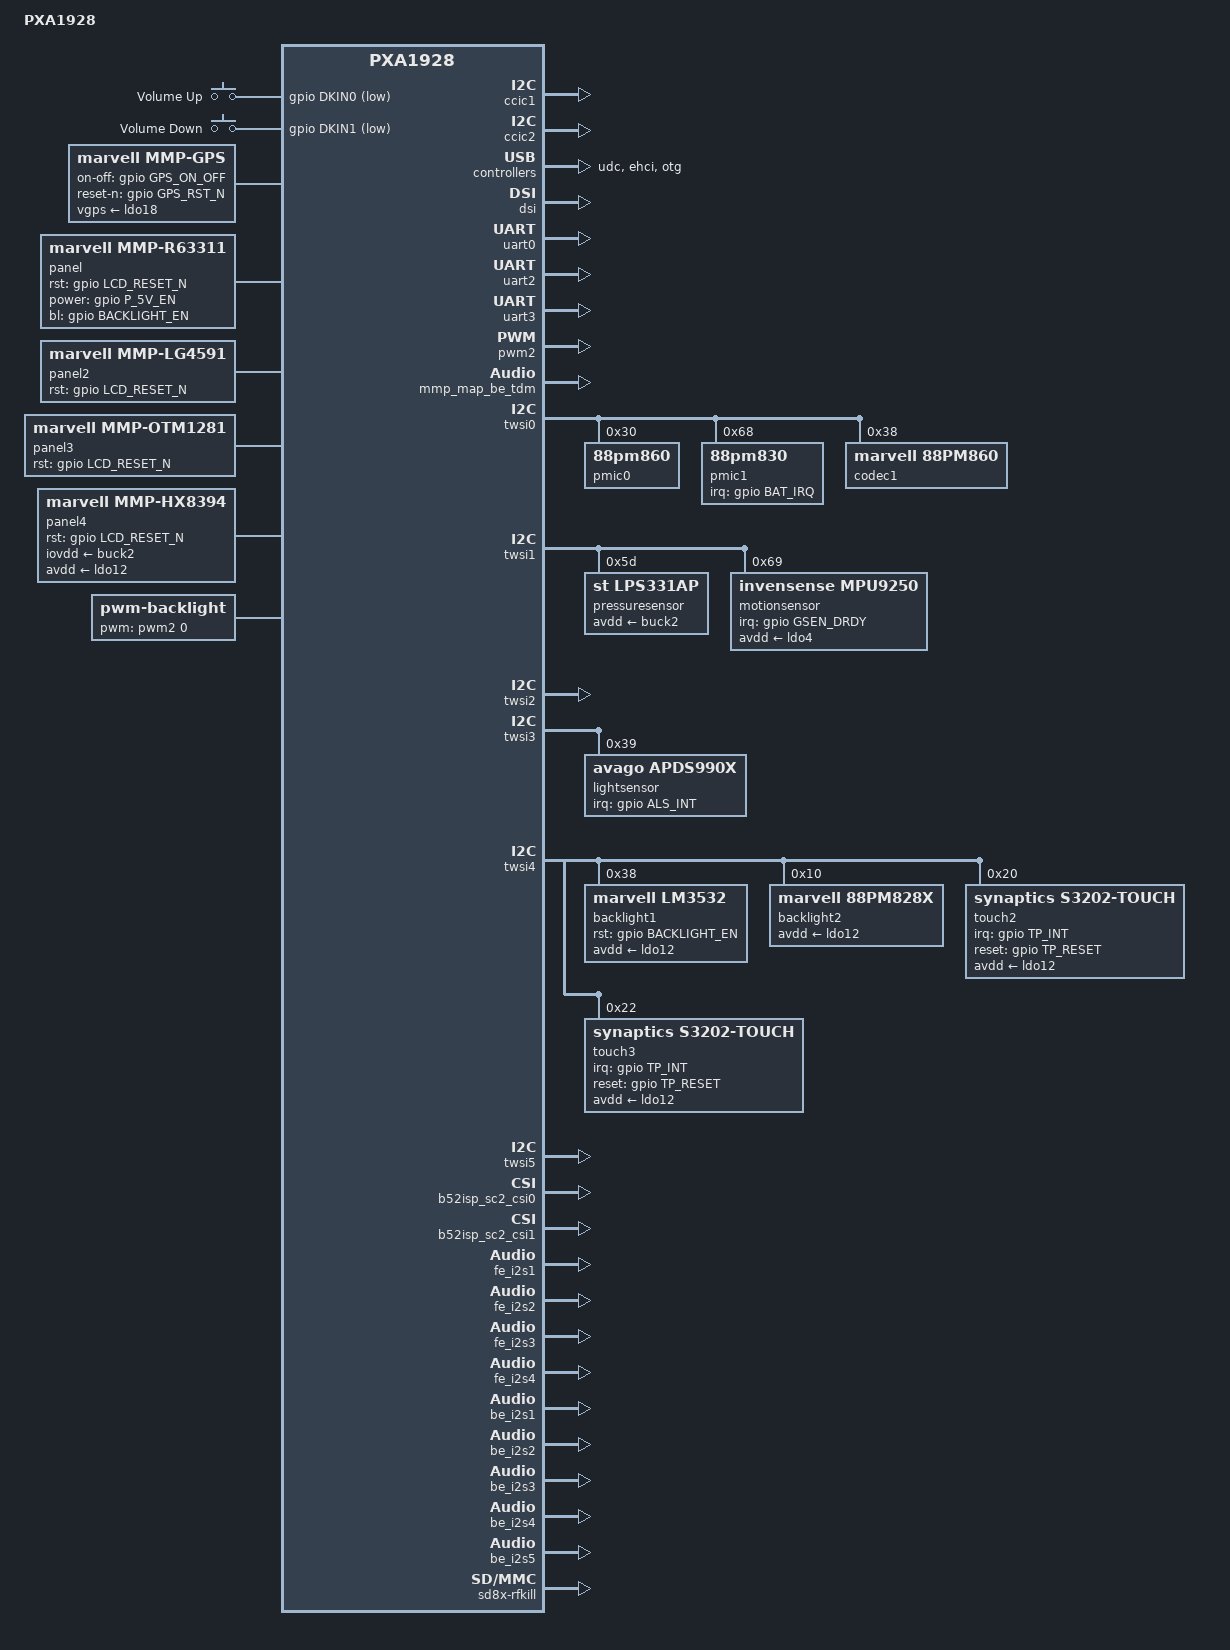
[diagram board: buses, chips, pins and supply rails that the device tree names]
/*
 *  Copyright (C) 2012 Marvell Technology Group Ltd.
 *  Author: Jing Xiang <jing.xiang@marvell.com>
 *
 *  This program is free software; you can redistribute it and/or modify
 *  it under the terms of the GNU General Public License version 2 as
 *  publishhed by the Free Software Foundation.
 */

/dts-v1/;
/memreserve/ 0x09000000 0x01000000;	/* GC reserved 16M */
/memreserve/ 0x08100000 0x00040000;	/* ramoops buffer (256KB) */
/memreserve/ 0x17000000 0x017f4c00;	/* default fb-mem (size: 256_align(1080*4)*1920*3+pitch_align(256_align(1080*4)*1920/512)*3(for dec header)) */
#include "pxa1928.dtsi"
#include "pxa1928concord-pinfunc.h"
#include "../../../../include/dt-bindings/interrupt-controller/irq.h"
#include "../../../../include/dt-bindings/mmc/pxa_sdhci.h"

/ {
	model = "PXA1928";
	compatible = "marvell,pxa1928-concord", "marvell,pxa1928";

	aliases {
		serial0 = &uart2;
		serial1 = &uart1;
		serial2 = &uart0;
		serial3 = &uart3;
		mv_sc2_mmu0 = &sc2mmu1;
		mv_sc2_ccic0 = &ccic1;
		mv_sc2_ccic1 = &ccic2;
		mv_sc2_camera0 = &mcam0;
		mv_sc2_camera1 = &mcam1;
		i2c0 = &twsi0;
		i2c1 = &twsi1;
		i2c2 = &twsi2;
		i2c3 = &twsi3;
		i2c4 = &twsi4;
		i2c5 = &twsi5;
	};

	gpio_keys {
		compatible = "gpio-keys";
		pinctrl-names = "default";
		pinctrl-0 = <&gpio_keys_pins>;
		#address-cells = <1>;
		#size-cells = <0>;

		volume-up {
			label = "Volume Up";
			linux,code = <115>; /* KEY_VOLUMEUP */
			gpios = <&gpio DKIN0 1>;
		};
		volume-down {
			label = "Volume Down";
			linux,code = <114>;/* KEY_VOLUMEDOWN */
			gpios = <&gpio DKIN1 1>;
		};
	};

	soc {
		pd_display: pd_display@0xd4282800 {
			compatible = "marvell,power-domain-display-pxa1928";
			reg = <0xd4282800 0x1000>;
			clocks = <&soc_clocks PXA1928_CLK_DISP_AXI_CLK>,
				<&soc_clocks PXA1928_CLK_DISP_ESC_CLK>,
				<&soc_clocks PXA1928_CLK_DISP_DISP1_EN>,
				<&soc_clocks PXA1928_CLK_DISP_VDMA_EN>;
			clock-names = "axi_clk", "esc_clk", "disp1_clk_gate", "vdma_clk_gate";
		};

		smmu {	/* iommu in vpu */
			status = "okay";
		};

		asram: sram@d1020000 {
			status = "okay";
		};

		axi@d4200000 {	/* AXI */
			wakeup: wakeupgen@d4284000 {
				compatible = "mrvl,pxa1928-intc-wakeupgen";
				reg = <0xd4284000 0x1000>,
					<0xd4282800 0x3ec>;
				mrvl,intc-gbl-mask = <0x114 0x1
							0x1d8 0x1
							0x208 0x1
							0x238 0x1>;
				mrvl,intc-for-sp = <>;
				mrvl,intc-wake-clr = <>;
			};

			sc2mmu1: sc2mmu@d4209000 {
				status = "okay";
			};

			ccic1: ccic@d420a000 {
				status = "okay";
				pinctrl-names = "default", "twsi3";
				pinctrl-0 = <&twsi3_isp_gpio_pins>;
				pinctrl-1 = <&twsi3_isp_pins>;
				sc2-i2c-dyn-ctrl;
			};

			ccic2: ccic@d420a800 {
				status = "okay";
				pinctrl-names = "default";
			};

			pd_gc: pd_gc@d4282800 {
				compatible = "marvell,power-domain-gc3d";
				reg = <0xd4282800 0x1000>;
				clocks = <&soc_clocks PXA1928_CLK_GC3D1X>;
			};

			pd_gc2d: pd_gc2d@d4282800 {
				compatible = "marvell,power-domain-gc2d";
				reg = <0xd4282800 0x1000>;
				clocks = <&soc_clocks PXA1928_CLK_GC2D>;
			};

			gpu: gpu@d420d000 {
				marvell,power-domain = <&pd_gc>;
				marvell,gpu-mem-base = <0x09000000>;
				marvell,gpu-mem-size = <0x1000000>;
				clocks = <&soc_clocks PXA1928_CLK_GC3D1X>,
					<&soc_clocks PXA1928_CLK_GC3DSH>,
					<&soc_clocks PXA1928_CLK_GC3DBUS>;
				clock-names = "GC3DFCLK", "GCSHCLK", "GC3DACLK";
				status = "okay";
			};

			gpu2d: gpu2d@d420f000 {
				marvell,power-domain = <&pd_gc2d>;
				clocks = <&soc_clocks PXA1928_CLK_GC2D>;
				clock-names = "GC2DFCLK";
				status = "okay";
			};

			adma0: adma@c0ffd800 {
				status = "okay";
			};
			adma1: adma@c0ffd900 {
				status = "okay";
			};

			usbphy: usbphy@d4207000 {
				status = "okay";
			};

			udc: udc@d4208100 {
				status = "okay";
			};

			ehci: ehci@d4208100 {
				status = "okay";
			};

			otg: otg@d4208100 {
				status = "okay";
			};

			dsi: dsi@d420b800 {
				marvell,phy-name = "mmp_dsi1";
				marvell,plat-path-name = "mmp_pnpath";
				marvell,dsi-lanes = <4>;
				marvell,burst-mode = <2>;
				marvell,hbp-en;
				dsi_avdd-supply = <&buck3>;
				status = "okay";
			};

			vdma: vdma@d427f000 {
				marvell,vdma-num = <4>;
				marvell,vdma-ch-clk-ctrl;
				status = "okay";
				vdma1 {
					marvell,vdma-id = <0>;
					marvell,sram-size = <69632>;
					marvell,is_vid = <0>;
				};
				vdma2 {
					marvell,vdma-id = <1>;
					marvell,sram-size = <0>;
					marvell,is_vid = <0>;
				};
				vdma3 {
					marvell,vdma-id = <2>;
					marvell,sram-size = <60928>;
					marvell,is_vid = <1>;
				};
				vdma4 {
					marvell,vdma-id = <3>;
					marvell,sram-size = <0>;
					marvell,is_vid = <1>;
				};
			};

			apical: apical@d420b400 {
				marvell,apical-num = <1>;
			};

			disp: disp@d420b000 {
				marvell,disp-name = "mmp_disp";
				marvell,path-num = <1>;
				marvell,power-domain = <&pd_display>;
				status = "okay";
				clocks = 	<&soc_clocks PXA1928_CLK_DISP_AXI_CLK>,
					<&soc_clocks PXA1928_CLK_DISP_DISP1_CLK>,
					<&soc_clocks PXA1928_CLK_PLL3>;
				clock-names = "axi_clk",  "disp1_clk", "dsipll_clk";
				path1 {
					marvell,path-name = "mmp_pnpath";
					marvell,overlay-num = <2>;
					marvell,overlay-table = <0>, <1>;
					marvell,output-type = <1>;
					marvell,path-config = <0x10>;
					marvell,link-config = <1>;
					disp_apmu_ver {
						version = "ax";
					};
				};
			};

			fb: fb {
				marvell,fb-name = "mmp_fb";
				marvell,path-name = "mmp_pnpath";
				marvell,overlay-id = <1>;
				marvell,default-pixfmt = <0x109>;
				marvell,buffer-num = <3>;
				marvell,fb-mem = <0x17000000>;
				status = "okay";
			};

			fb1: fb-overlay {
				marvell,fb-name = "mmp_fb_overlay";
				marvell,path-name = "mmp_pnpath";
				marvell,overlay-id = <0>;
				status = "okay";
			};

			/* emmc */
			sdh2: sdh@d4217000 {
				pinctrl-names = "default", "fast";
				pinctrl-0 = <&sdh2_pins_pullup &sdh2_pins_pulldn>;
				pinctrl-1 = <&sdh2_pins_pullup_fast &sdh2_pins_pulldn_fast>;
				bus-width = <8>;
				non-removable;
				marvell,sdh-pm-runtime-en;
				marvell,sdh-flags = <(
						PXA_FLAG_SD_8_BIT_CAPABLE_SLOT |
						PXA_FLAG_ENABLE_CLOCK_GATING |
						PXA_FLAG_NEW_RX_CFG_REG |
						PXA_FLAG_TX_SEL_BUS_CLK
						)>;
				marvell,sdh-quirks = <(SDHCI_QUIRK_BROKEN_CARD_DETECTION)>;
				marvell,sdh-quirks2 = <(
						SDHCI_QUIRK2_TIMEOUT_SHORT |
						SDHCI_QUIRK2_TUNING_ADMA_BROKEN |
						SDHCI_QUIRK2_TUNING_BROKEN
						)>;
				marvell,sdh-host-caps = <(MMC_CAP_1_8V_DDR)>;
				marvell,sdh-host-caps2 = <(MMC_CAP2_BKOPS_EN)>;
	/* prop "mrvl,dtr_data": <timing preset_rate src_rate tx_delay rx_delay rx_sdclk_sel0 rx_sdclk_sel1 fakeclk_en> */
				marvell,sdh-dtr-data = <PXA_MMC_TIMING_LEGACY PXA_SDH_DTR_26M PXA_SDH_DTR_156M 0 0 0 0 0>,
						<PXA_MMC_TIMING_MMC_HS PXA_SDH_DTR_52M PXA_SDH_DTR_156M 0 0 0 0 0>,
						<PXA_MMC_TIMING_UHS_DDR50 PXA_SDH_DTR_52M PXA_SDH_DTR_156M 298 673 2 1 0>,
						<PXA_MMC_TIMING_MMC_HS200 PXA_SDH_DTR_156M PXA_SDH_DTR_156M 292 210 3 1 0>,
						<PXA_MMC_TIMING_MAX PXA_SDH_DTR_PS_NONE PXA_SDH_DTR_156M 0 0 0 0 0>;
				status = "okay";
			};

			/* sd card */
			sdh0: sdh@d4280000 {
				pinctrl-names = "default", "fast";
				pinctrl-0 = <&sdh0_pins_pullup &sdh0_pins_pulldn>;
				pinctrl-1 = <&sdh0_pins_pullup_fast &sdh0_pins_pulldn_fast>;
				bus-width = <4>;
				vqmmc-supply    = <&ldo17>;
				vmmc-supply     = <&ldo5>;
				marvell,sdh-flags = <(
						PXA_FLAG_ENABLE_CLOCK_GATING |
						PXA_FLAG_NEW_RX_CFG_REG |
						PXA_FLAG_TX_SEL_BUS_CLK
						)>;
				marvell,sdh-quirks2 = <(
						SDHCI_QUIRK2_TIMEOUT_SHORT |
						SDHCI_QUIRK2_TUNING_ADMA_BROKEN |
						SDHCI_QUIRK2_TUNING_BROKEN |
						SDHCI_QUIRK2_SET_AIB_MMC
						)>;
	/* prop "mrvl,dtr_data": <timing preset_rate src_rate tx_delay rx_delay rx_sdclk_sel0 rx_sdclk_sel1 fakeclk_en> */
				marvell,sdh-dtr-data = <PXA_MMC_TIMING_LEGACY PXA_SDH_DTR_26M PXA_SDH_DTR_156M 0 0 0 0 0>,
						<PXA_MMC_TIMING_SD_HS PXA_SDH_DTR_52M PXA_SDH_DTR_156M 0 0 0 0 1>,
						<PXA_MMC_TIMING_UHS_DDR50 PXA_SDH_DTR_52M PXA_SDH_DTR_156M 266 0 0 0 1>,
						<PXA_MMC_TIMING_UHS_SDR104 PXA_SDH_DTR_156M PXA_SDH_DTR_156M 248 327 3 1 1>,
						<PXA_MMC_TIMING_MAX PXA_SDH_DTR_PS_NONE PXA_SDH_DTR_156M 0 0 0 0 0>;
				status = "okay";
			};

			/* sdio */
			sdh1: sdh@d4280800 {
				pinctrl-names = "default", "fast", "sleep";
				pinctrl-0 = <&sdh1_pins_pullup &sdh1_pins_pulldn>;
				pinctrl-1 = <&sdh1_pins_pullup_fast &sdh1_pins_pulldn_fast>;
				pinctrl-2 = <&sdh1_pins_edge_wakeup>;
				bus-width = <4>;
				marvell,sdh-quirks = <(SDHCI_QUIRK_BROKEN_CARD_DETECTION)>;
				marvell,sdh-quirks2 = <(
						SDHCI_QUIRK2_FAKE_SDIO_IRQ_IN_UHS |
						SDHCI_QUIRK2_TUNING_ADMA_BROKEN |
						SDHCI_QUIRK2_TIMEOUT_SHORT |
						SDHCI_QUIRK2_TUNING_BROKEN
						)>;
				marvell,sdh-pm-caps = <(MMC_PM_KEEP_POWER)>;
				marvell,sdh-host-caps2 = <(MMC_CAP2_NO_VOLTAGE_SWITCH)>;
				marvell,sdh-flags = <(
						PXA_FLAG_WAKEUP_HOST |
						PXA_FLAG_TX_SEL_BUS_CLK |
						PXA_FLAG_NEW_RX_CFG_REG |
						PXA_FLAG_DISABLE_PROBE_CDSCAN
						)>;
	/* prop "mrvl,dtr_data": <timing preset_rate src_rate tx_delay rx_delay rx_sdclk_sel0 rx_sdclk_sel1 fakeclk_en> */
				marvell,sdh-dtr-data = <PXA_MMC_TIMING_LEGACY PXA_SDH_DTR_26M PXA_SDH_DTR_156M 0 0 0 0 0>,
						<PXA_MMC_TIMING_SD_HS PXA_SDH_DTR_52M PXA_SDH_DTR_156M 0 0 0 0 1>,
						<PXA_MMC_TIMING_UHS_DDR50 PXA_SDH_DTR_52M PXA_SDH_DTR_156M 0 0 0 0 1>,
						<PXA_MMC_TIMING_UHS_SDR104 PXA_SDH_DTR_156M PXA_SDH_DTR_156M 0 250 3 1 1>,
						<PXA_MMC_TIMING_MAX PXA_SDH_DTR_PS_NONE PXA_SDH_DTR_156M 0 0 0 0 0>;
				status = "okay";
			};
		};

		axi@f0400000 {
			b52isp: b52isp@0xF0B00000 {
				status = "okay";
			};
		};

		apb@d4000000 {
			/* PDMA Controller 0 */
			pdma0: pdma@d4000000 {
				status = "okay";
			};

			/* PDMA Controller 1 */
			pdma1: pdma@d4008000 {
				status = "okay";
			};

			/* UART for GPS */
			uart0: uart@d4030000 {
				pinctrl-names = "default";
				pinctrl-0 = <&uart0_pins>;
				status = "okay";
			};

			uart2: uart@d4018000 {
				pinctrl-names = "default","sleep";
				pinctrl-0 = <&uart2_pins_rx &uart2_pins_tx>;
				pinctrl-1 = <&uart2_pins_rx_sleep &uart2_pins_tx>;
				edge-wakeup-gpio = <UART2_RXD_GPIO>;
				status = "okay";
			};

			/* UART for WIFI and SPI NOR */
			uart3: uart@d4016000 {
				pinctrl-names = "default";
				pinctrl-0 = <&uart3_pins>;
				status = "okay";
			};

			pwm2: pwm@d401a400 {
				pinctrl-names = "default"; pinctrl-0 = <&pwm2_pins>;
				status = "okay";
			};

			/* SSPA port 0 */
			sspa0: sspa@c0ffdc00 {
				pinctrl-names = "default";
				pinctrl-0 = <&sspa0_func>;
				playback_period_bytes = <2048>;
				playback_buffer_bytes = <4096>;
				capture_period_bytes = <2048>;
				capture_buffer_bytes = <4096>;
				burst_size = <4>;
				sleep_vol = <925>;
				#dailink-cells = <1>;
				status = "okay";
			};

			/* SSPA port 1 */
			sspa1: sspa@c0ffdd00 {
				pinctrl-names = "default";
				pinctrl-0 = <&sspa1_func>;
				playback_period_bytes = <24576>;
				playback_buffer_bytes = <49152>;
				capture_period_bytes = <2048>;
				capture_buffer_bytes = <4096>;
				burst_size = <4>;
				sleep_vol = <925>;
				#dailink-cells = <1>;
				status = "okay";
			};

			map: map@c3000000 {
				marvell,b0_fix;
				marvell,apll = <0>;
				status = "okay";
				mmp_map_codec: mmp_map_codec {
					compatible = "marvell,mmp-map-codec";
					#dailink-cells = <1>;
				};
				mmp_map_be: mmp_map_be {
					compatible = "marvell,mmp-map-be";
					#dailink-cells = <1>;
				};
				mmp_map_be_tdm: mmp_map_be_tdm {
					compatible = "marvell,mmp-map-be-tdm";
					#dailink-cells = <1>;
				};
			};

			thermal: thermal@d403b000 {
				status = "okay";
			};
			pmx: pinmux@d401e000 {
				status = "okay";
				pinctrl-names = "default";
				pinctrl-0 = <&mfp_pins_group_0 &mfp_pins_group_1>;
				/* pin base, nr pins & gpio function */
				pinctrl-single,gpio-range = <PXA1928_GPIO_PINMUX>;

				mfp_pins_group_0: mfp_pins_group_0 {
					pinctrl-single,pins = <
						MMC1_DAT7
						MMC1_DAT6
						MMC1_DAT5
						MMC1_DAT4
					>;
					MFP_PULL_UP;
				};

				mfp_pins_group_1: mfp_pins_group_1 {
					pinctrl-single,pins = <CAM_MCLK>;
					MFP_DEFAULT;
				};

				uart0_pins: pinmux_uart0_pins {
					pinctrl-single,pins = <UART0_RXD UART0_TXD>;
					MFP_DEFAULT;
				};

				uart2_pins_rx: pinmux_uart2_pins_rx {
					pinctrl-single,pins = <UART2_RXD>;
					MFP_DEFAULT;
				};

				uart2_pins_tx: pinmux_uart2_pins_tx {
					pinctrl-single,pins = <UART2_TXD>;
					MFP_DEFAULT;
				};

				uart2_pins_rx_sleep: pinmux_uart2_pins_rx_sleep {
					pinctrl-single,pins = <UART2_RXD>;
					MFP_EDGE_BOTH_DETECT;
				};

				uart3_pins: pinmux_uart3_pins {
					pinctrl-single,pins = <UART3_RXD UART3_TXD
								UART3_RTS UART3_CTS>;
					MFP_DEFAULT;
				};

				pwm2_pins: pinmux_pwm2_pins {
					pinctrl-single,pins = <PWM2>;
					MFP_DEFAULT;
				};

				gpio_keys_pins: pinmux_gpio_keys_pins {
					pinctrl-single,pins = <GPIO(DKIN0) GPIO(DKIN1)>;
					MFP_LPM_PULL_HIGH;
				};

				ccic1_pins: pinmux_ccic1_pins {
					pinctrl-single,pins = <CAM_MCLK>;
					MFP_DEFAULT;
				};

				twsi0_pins: pinmux_twsi0_pins {
					pinctrl-single,pins = <PWR_SCL PWR_SDA>;
					MFP_DEFAULT;
				};

				twsi0_gpio_pins: pinmux_twsi0_gpio_pins {
					pinctrl-single,pins = <GPIO(PWR_SCL_GPIO) GPIO(PWR_SDA_GPIO)>;
					MFP_DEFAULT;
				};

				twsi0_cp_pins: pinmux_twsi0_cp_pins {
					pinctrl-single,pins = <PWR_CP_SCL PWR_CP_SDA>;
					MFP_DEFAULT;
				};

				twsi1_pins: pinmux_twsi1_pins {
					pinctrl-single,pins = <TWSI1_SCL TWSI1_SDA>;
					MFP_DEFAULT;
				};

				twsi1_gpio_pins: pinmux_twsi1_gpio_pins {
					pinctrl-single,pins = <GPIO(TWSI1_SCL_GPIO) GPIO(TWSI1_SDA_GPIO)>;
					MFP_DEFAULT;
				};

				twsi2_pins: pinmux_twsi2_pins {
					pinctrl-single,pins = <TWSI2_SCL TWSI2_SDA>;
					MFP_DEFAULT;
				};

				twsi2_gpio_pins: pinmux_twsi2_gpio_pins {
					pinctrl-single,pins = <GPIO(TWSI2_SCL_GPIO) GPIO(TWSI2_SDA_GPIO)>;
					MFP_DEFAULT;
				};

				twsi3_isp_pins: pinmux_isp_twsi3_pins {
					pinctrl-single,pins = <TWSI3_SCL_ISP TWSI3_SDA_ISP>;
					MFP_DEFAULT;
				};

				twsi3_isp_gpio_pins: pinmux_isp_twsi3_gpio_pins {
					pinctrl-single,pins = <GPIO(TWSI3_SCL_ISP_GPIO) GPIO(TWSI3_SDA_ISP_GPIO)>;
					MFP_DEFAULT;
				};

				twsi3_pins: pinmux_twsi3_pins {
					pinctrl-single,pins = <TWSI3_SCL TWSI3_SDA>;
					MFP_DEFAULT;
				};

				twsi3_gpio_pins: pinmux_twsi3_gpio_pins {
					pinctrl-single,pins = <GPIO(TWSI3_SCL_GPIO) GPIO(TWSI3_SDA_GPIO)>;
					MFP_DEFAULT;
				};

				twsi4_pins: pinmux_twsi4_pins {
					pinctrl-single,pins = <TWSI4_SCL TWSI4_SDA>;
					MFP_DEFAULT;
				};

				twsi4_gpio_pins: pinmux_twsi4_gpio_pins {
					pinctrl-single,pins = <GPIO(TWSI4_SCL_GPIO) GPIO(TWSI4_SDA_GPIO)>;
					MFP_DEFAULT;
				};

				twsi5_pins: pinmux_twsi5_pins {
					pinctrl-single,pins = <TWSI5_SCL TWSI5_SDA>;
					MFP_DEFAULT;
				};

				twsi5_gpio_pins: pinmux_twsi5_gpio_pins {
					pinctrl-single,pins = <GPIO(TWSI5_SCL_GPIO) GPIO(TWSI5_SDA_GPIO)>;
					MFP_DEFAULT;
				};

				pmic1_pins: pinmux_88pm830_pins {
					pinctrl-single,pins = <GPIO(BAT_IRQ) GPIO(TORCH_EN) GPIO(FLASH_EN)>;
					MFP_DEFAULT;
				};

				pmic1_pins_sleep: pinmux_88pm830_pins_sleep {
					pinctrl-single,pins = <GPIO(BAT_IRQ)>;
					DS_MEDIUM;PULL_NONE;EDGE_BOTH;LPM_NONE;
				};
				touch_pins: pinmux_touch_pins {
					pinctrl-single,pins = <GPIO(TP_INT) GPIO(TP_RESET)>;
					MFP_DEFAULT;
				};

				apds990x_pins: pinmux_apds990x_pins {
					pinctrl-single,pins = <GPIO(ALS_INT)>;
					MFP_PULL_UP;
				};

				motion_sensor_pins: pinmux_motion_sensor_pins {
					pinctrl-single,pins = <GPIO(GSEN_DRDY)>;
					MFP_PULL_LOW;
				};

				sdh0_pins_pullup: pinmux_sdh0_pins_pullup {
					pinctrl-single,pins = <
						MMC1_DAT3
						MMC1_DAT2
						MMC1_DAT1
						MMC1_DAT0
						MMC1_CMD
						MMC1_CD_N
						MMC1_WP
					>;
					MFP_PULL_UP;
				};

				sdh0_pins_pullup_fast: pinmux_sdh0_pins_pullup_fast {
					pinctrl-single,pins = <
						MMC1_DAT3
						MMC1_DAT2
						MMC1_DAT1
						MMC1_DAT0
						MMC1_CMD
						MMC1_CD_N
						MMC1_WP
					>;
					DS_FAST;PULL_UP;EDGE_NONE;LPM_NONE;
				};

				sdh0_pins_pulldn: pinmux_sdh0_pins_pulldn {
					pinctrl-single,pins = <
						MMC1_CLK
					>;
					MFP_PULL_DOWN;
				};

				sdh0_pins_pulldn_fast: pinmux_sdh0_pins_pulldn_fast {
					pinctrl-single,pins = <
						MMC1_CLK
					>;
					DS_FAST;PULL_DOWN;EDGE_NONE;LPM_NONE;
				};

				sdh1_pins_pullup: pinmux_sdh1_pins_pullup {
					pinctrl-single,pins = <
						MMC2_DAT3
						MMC2_DAT2
						MMC2_DAT1
						MMC2_DAT0
						MMC2_CMD
					>;
					MFP_DEFAULT;
				};

				sdh1_pins_pullup_fast: pinmux_sdh1_pins_pullup_fast {
					pinctrl-single,pins = <
						MMC2_DAT3
						MMC2_DAT2
						MMC2_DAT1
						MMC2_DAT0
						MMC2_CMD
					>;
					DS_FAST;PULL_UP;EDGE_NONE;LPM_NONE;
				};

				sdh1_pins_pulldn: pinmux_sdh1_pins_pulldn {
					pinctrl-single,pins = <
						MMC2_CLK
					>;
					MFP_PULL_DOWN;
				};

				sdh1_pins_pulldn_fast: pinmux_sdh1_pins_pulldn_fast {
					pinctrl-single,pins = <
						MMC2_CLK
					>;
					DS_FAST;PULL_DOWN;EDGE_NONE;LPM_NONE;
				};

				sdh1_pins_pd_rst_off: pinmux_sdh1_pins_pd_rst_off {
					pinctrl-single,pins = <
						GPIO(WIFI_RST_N)
						GPIO(WIFI_PD_N)
					>;
					MFP_LPM_DRIVE_LOW;
				};

				sdh1_pins_pd_rst_on: pinmux_sdh1_pins_pd_rst_on {
					pinctrl-single,pins = <
						GPIO(WIFI_RST_N)
						GPIO(WIFI_PD_N)
					>;
					MFP_LPM_DRIVE_HIGH;
				};

				sdh1_pins_edge_wakeup: sdh1_pins_edge_wakeup {
					pinctrl-single,pins = <
						MMC2_DAT1
				        >;
				        DS_MEDIUM;PULL_NONE;EDGE_BOTH;LPM_NONE;
			        };

				sdh2_pins_pullup: pinmux_sdh2_pins_pullup {
					pinctrl-single,pins = <
						MMC3_DAT7
						MMC3_DAT6
						MMC3_DAT5
						MMC3_DAT4
						MMC3_DAT3
						MMC3_DAT2
						MMC3_DAT1
						MMC3_DAT0
						MMC3_CMD
						MMC3_RST
					>;
					MFP_PULL_UP;
				};

				sdh2_pins_pullup_fast: pinmux_sdh2_pins_pullup_fast {
					pinctrl-single,pins = <
						MMC3_DAT7
						MMC3_DAT6
						MMC3_DAT5
						MMC3_DAT4
						MMC3_DAT3
						MMC3_DAT2
						MMC3_DAT1
						MMC3_DAT0
						MMC3_CMD
						MMC3_RST
					>;
					DS_FAST;PULL_UP;EDGE_NONE;LPM_NONE;
				};

				sdh2_pins_pulldn: pinmux_sdh2_pins_pulldn {
					pinctrl-single,pins = <
						MMC3_CLK
					>;
					MFP_PULL_DOWN;
				};

				sdh2_pins_pulldn_fast: pinmux_sdh2_pins_pulldn_fast {
					pinctrl-single,pins = <
						MMC3_CLK
					>;
					DS_FAST;PULL_DOWN;EDGE_NONE;LPM_NONE;
				};

				dvc_pins: pinmux_dvc_pins {
					pinctrl-single,pins = <
						DVC00
						DVC01
						DVC02
						DVC03
					>;
					MFP_DEFAULT;
				};

				sspa0_func: sspa0_func {
					pinctrl-single,pins = <
						I2S_SYSCLK
						I2S_BITCLK
						I2S_SYNC
						I2S_DATA_OUT
						I2S_SDATA_IN
					>;
					MFP_DEFAULT;
				};

				sspa1_func: sspa1_func {
					pinctrl-single,pins = <
						I2S_SYNC_2
						I2S_BITCLK_2
						I2S_DATA_OUT_2
						I2S_SDATA_IN_2
					>;
					MFP_DEFAULT;
				};

				gps_lpm_drv_low_pins: pinmux_gps_lpm_drv_low_pins {
					pinctrl-single,pins = <GPIO(GPS_RST_N)>;
					MFP_LPM_DRIVE_LOW;
				};

				gps_lpm_drv_high_pins: pinmux_gps_lpm_drv_high_pins {
					pinctrl-single,pins = <GPIO(GPS_RST_N)>;
					MFP_LPM_DRIVE_HIGH;
				};
			};

			twsi0: i2c@d4011000 {
				pinctrl-names = "default", "gpio", "i2c_cp";
				pinctrl-0 = <&twsi0_pins>;
				pinctrl-1 = <&twsi0_gpio_pins>;
				pinctrl-2 = <&twsi0_cp_pins>;
				i2c-gpio = <&gpio PWR_SCL_GPIO 0 &gpio PWR_SDA_GPIO 0>;
				mrvl,i2c-apdcp;
				status = "okay";

				pmic0: 88pm860@30 {
					reg = <0x30>;
					interrupts = <0 77 IRQ_TYPE_LEVEL_HIGH>;
					interrupt-parent = <&gic>;
					/* TODO: move this part out */
					dvc {
						pinctrl-names = "default";
						pinctrl-0 = <&dvc_pins>;
						status = "okay";
					};

					headset {
						compatible = "marvell,88pm80x-headset";
						marvell,headset-flag = <1>;
						marvell,hook-press-th = <60>;
						marvell,vol-up-press-th = <250>;
						marvell,vol-down-press-th = <500>;
						marvell,mic-det-th = <600>;
						marvell,press-release-th = <600>;
						marvell,micbias-supply = <&ldo14>;
					};
				};

				pmic1: 88pm830@68 {
					/* gpio 4, 5, 75 */
					pinctrl-names = "default","sleep";
					pinctrl-0 = <&pmic1_pins>;
					pinctrl-1 = <&pmic1_pins_sleep>;

					reg = <0x68>;
					interrupt-parent = <&gpio>;
					interrupts = <BAT_IRQ IRQ_TYPE_EDGE_FALLING>;
					edge-wakeup-gpio = <BAT_IRQ>;

				        charger {
					        status = "okay";
				        };
				        battery {
						marvell,fg-has-external-storage;
						external-storage = <&pmic0>;

					        /* board design related */
					        external-resistor = <200>; /* mohm */
					        /* using scenario */
					        power-off-threshold = <3350>; /* mV */
					        safe-power-off-threshold = <3000>; /* mV */
					        status = "okay";
				        };
				        led {
					        flash-en-gpio = <95>;
					        flash-txmsk-gpio = <19>;
					        status = "okay";
				        };
					vbus {
						gpadc-number = <1>;
						status = "okay";
					};

				        debug {
					       status = "okay";
				        };
			       };

				codec1: 88pm860@38 {
					compatible = "marvell,88pm860";
					reg = <0x38>;
					status = "okay";
					pm860_codec: pm860_codec {
						compatible = "marvell,88pm860-codec";
						#dailink-cells = <1>;
					};
				};
			};

			twsi1: i2c@d4031000 {
				pinctrl-names = "default", "gpio";
				pinctrl-0 = <&twsi1_pins>;
				pinctrl-1 = <&twsi1_gpio_pins>;
				i2c-gpio = <&gpio TWSI1_SCL_GPIO 0 &gpio TWSI1_SDA_GPIO 0>;
				status = "okay";

				pressuresensor: lps331ap@5d {
					compatible = "st,lps331ap";
					reg = <0x5d>;
					lps331ap,poll_interval = <1000>;
					avdd-supply = <&buck2>;
				};

				motionsensor: mpu9250@69 {
					pinctrl-names = "default"; pinctrl-0 = <&motion_sensor_pins>;
					compatible = "invensense,mpu9250";
					reg = <0x69>;
					interrupt-parent = <&gpio>;
					interrupts = <GSEN_DRDY 0x2>;
					inven,irq-gpios = <&gpio GSEN_DRDY 0x00>;
					avdd-supply = <&ldo4>;
					axis_map_x = <0>;
					negate_x = <0>;
					axis_map_y = <4>;
					negate_y = <0>;
					axis_map_z = <8>;
					negate_z = <0>;
					inven,secondary_axis_map_x = <0>;
					inven,secondary_negate_x = <0>;
					inven,secondary_axis_map_y = <4>;
					inven,secondary_negate_y = <0>;
					inven,secondary_axis_map_z = <8>;
					inven,secondary_negate_z = <0>;
					inven,secondary_type = "compass";
					inven,secondary_name = "ak8963";
					inven,secondary_reg = <0xc>;
				};
			};

			twsi2: i2c@d4032000 {
				pinctrl-names = "default", "gpio";
				pinctrl-0 = <&twsi2_pins>;
				pinctrl-1 = <&twsi2_gpio_pins>;
				i2c-gpio = <&gpio TWSI2_SCL_GPIO 0 &gpio TWSI2_SDA_GPIO 0>;
				status = "okay";
			};

			twsi3: i2c@d4033000 {
				pinctrl-names = "default", "gpio";
				pinctrl-0 = <&twsi3_pins>;
				pinctrl-1 = <&twsi3_gpio_pins>;
				i2c-gpio = <&gpio TWSI3_SCL_GPIO 0 &gpio TWSI3_SDA_GPIO 0>;
				status = "okay";

				lightsensor: apds990x@39 {
					pinctrl-names = "default"; pinctrl-0 = <&apds990x_pins>;
					compatible = "avago,apds990x";
					reg = <0x39>;
					interrupt-parent = <&gpio>;
					interrupts = <ALS_INT 0x1>;
				};
			};

			twsi4: i2c@d4033800 {
				pinctrl-names = "default", "gpio";
				pinctrl-0 = <&twsi4_pins>;
				pinctrl-1 = <&twsi4_gpio_pins>;
				i2c-gpio = <&gpio TWSI4_SCL_GPIO 0 &gpio TWSI4_SDA_GPIO 0>;
				status = "okay";

				backlight1: lm3532@38 {
					compatible = "marvell,lm3532";
					reg = <0x38>;
					flags = <0>;
					ramp_time = <0>;
					ctrl_a_fs_current = <0x1b>;
					ctrl_a_mapping_mode = <0x2>;
					ctrl_a_pwm = <0x86>;
					rst_gpio = <&gpio BACKLIGHT_EN 0>;
					avdd-supply = <&ldo12>;
				};

				backlight2: pm828x@10 {
					compatible = "marvell,88pm828x";
					reg = <0x10>;
					ramp_mode = <0x2>;
					idac_current = <0xa00>;
					ramp_clk = <0>;
					str_config = <0x1>;
					avdd-supply = <&ldo12>;
				};

                                touch2: s3202@20 {
                                        compatible = "synaptics,s3202-touch";
                                        pinctrl-names = "default"; pinctrl-0 = <&touch_pins>;
                                        reg = <0x20>;
                                        interrupt-parent = <&gpio>;
                                        interrupts = <TP_INT 0x1>;
                                        /* IRQF_ONESHOT | IRQF_TRIGGER_FALLING */
                                        synaptics,irq-flags =  <0x2002>;
                                        synaptics,irq-gpios = <&gpio TP_INT 0>;
                                        synaptics,reset-gpios = <&gpio TP_RESET 0>;
                                        synaptics,sensor_res_x = <720>;
                                        synaptics,sensor_res_y = <1280>;
                                        synaptics,sensor_max_x = <798>;
                                        synaptics,sensor_max_y = <1392>;
                                        synaptics,sensor_margin_x = <39>;
                                        synaptics,sensor_margin_y = <0>;
                                        avdd-supply = <&ldo12>;
                                };

                                touch3: s3202@22 {
                                        compatible = "synaptics,s3202-touch";
                                        pinctrl-names = "default"; pinctrl-0 = <&touch_pins>;
                                        reg = <0x22>;
                                        interrupt-parent = <&gpio>;
                                        interrupts = <TP_INT 0x1>;
                                        /* IRQF_ONESHOT | IRQF_TRIGGER_FALLING */
                                        synaptics,irq-flags =  <0x2002>;
                                        synaptics,irq-gpios = <&gpio TP_INT 0>;
                                        synaptics,reset-gpios = <&gpio TP_RESET 0>;
                                        synaptics,sensor_res_x = <1080>;
                                        synaptics,sensor_res_y = <1920>;
                                        synaptics,sensor_max_x = <1080>;
                                        synaptics,sensor_max_y = <2070>;
                                        synaptics,sensor_margin_x = <0>;
                                        synaptics,sensor_margin_y = <0>;
                                        avdd-supply = <&ldo12>;
                                };
			};

			twsi5: i2c@d4034000 {
				pinctrl-names = "default", "gpio";
				pinctrl-0 = <&twsi5_pins>;
				pinctrl-1 = <&twsi5_gpio_pins>;
				i2c-gpio = <&gpio TWSI5_SCL_GPIO 0 &gpio TWSI5_SDA_GPIO 0>;
				status = "okay";
			};

			acipc: acipc@d401c000 {
				status = "okay";
			};

			seh {
				status = "okay";
			};

			cp-load {
				compatible = "marvell,cp_load";
				cp-type = <2>; /* pxa1928 */
				lpm-qos = <PM_QOS_CPUIDLE_BLOCK_AXI>;
				status = "okay";
			};

			keyreset {
				compatible = "marvell,keyreset";
				keys-down = <0x73 0x72>;
				keyreset-need-panic;
			};
		};
	};

	soc-camera@0 {
		status = "okay";
	};

	mcam0: mcam@0 {
		avdd_2v8-supply = <&ldo3>;
		dovdd_1v8-supply = <&ldo6>;
		af_2v8-supply = <&ldo7>;
		dvdd_1v2-supply = <&ldo19>;
		pwdn-gpios = <&gpio CAM_MAIN_PWDN_N 0>;
		reset-gpios = <&gpio CAM1_RST_N 0>;
		dphy_val = <0xff1d00 0x00024733 0x04001001>;
		status = "disable";
	};

	mcam1: mcam@1 {
		avdd_2v8-supply = <&ldo3>;
		dovdd_1v8-supply = <&ldo6>;
		af_2v8-supply = <&ldo7>;
		dvdd_1v2-supply = <&ldo19>;
		pwdn-gpios = <&gpio CAM_SEC_PWDN_N 0>;
		reset-gpios = <&gpio CAM2_RST_N 0>;
		dphy_val = <0xff1d00 0x00024733 0x04001001>;
		status = "okay";
	};

	b52isp_sc2_csi0 {
		status = "okay";
	};

	b52isp_sc2_csi1 {
		status = "okay";
	};

	b52isp_sc2_dma0 {
		status = "okay";
	};

	b52isp_sc2_dma1 {
		status = "okay";
	};

	plat_cam {
		status = "okay";
		backsensor {
			compatible = "marvell,backsensor";
			#address-cells = <1>;
			#size-cells = <0>;
			IMX219: sensor@0 {
				compatible = "sony,imx219";
				status = "okay";
				reg = <0x1A>;
				adapter = <0x1>;
				sensor-pos = <1>;/*SCCB1/CCIC1*/
				mclk = <26000000>;
				dphy3 = <0x2700>;
				dphy5 = <0xff>;
				dphy6 = <0x1001>;
				af_2v8-supply = <&ldo7>;
				avdd_2v8-supply = <&ldo3>;
				dovdd_1v8-supply = <&ldo6>;
				dvdd_1v2-supply = <&CAMERA_DVDD_SUPPLY>;
				pwdn-gpios = <&gpio CAM_MAIN_PWDN_N 1>;
				reset-gpios = <&gpio CAM1_RST_N 1>;
			};
			OV13850: sensor@1 {
				compatible = "ovt,ov13850";
				status = "okay";
				reg = <0x10>;
				adapter = <0x1>;
				sensor-pos = <1>;
				mclk = <26000000>;
				dphy3 = <0x1500>;
				dphy5 = <0xff>;
				dphy6 = <0x1001>;
				af_2v8-supply = <&ldo7>;
				avdd_2v8-supply = <&ldo3>;
				dovdd_1v8-supply = <&ldo6>;
				dvdd_1v2-supply = <&CAMERA_DVDD_SUPPLY>;
				pwdn-gpios = <&gpio CAM_MAIN_PWDN_N 1>;
				reset-gpios = <&gpio CAM1_RST_N 1>;
			};
			OV8858: sensor@2 {
				compatible = "ovt,ov8858";
				status = "okay";
				reg = <0x36>;
				adapter = <0x1>;
				sensor-pos = <1>;
				mclk = <26000000>;
				dphy3 = <0x1500>;
				dphy5 = <0xff>;
				dphy6 = <0x1001>;
				af_2v8-supply = <&ldo7>;
				avdd_2v8-supply = <&ldo3>;
				dovdd_1v8-supply = <&ldo6>;
				dvdd_1v2-supply = <&CAMERA_DVDD_SUPPLY>;
				pwdn-gpios = <&gpio CAM_MAIN_PWDN_N 1>;
				reset-gpios = <&gpio CAM1_RST_N 1>;
			};
			OV5648: sensor@3 {
				compatible = "ovt,ov5648";
				status = "okay";
				reg = <0x36>;
				adapter = <0x1>;
				sensor-pos = <1>;
				mclk = <26000000>;
				dphy3 = <0x1500>;
				dphy5 = <0xff>;
				dphy6 = <0x1001>;
				af_2v8-supply = <&ldo7>;
				avdd_2v8-supply = <&ldo3>;
				dovdd_1v8-supply = <&ldo6>;
				dvdd_1v2-supply = <&CAMERA_DVDD_SUPPLY>;
				pwdn-gpios = <&gpio CAM_MAIN_PWDN_N 1>;
				reset-gpios = <&gpio CAM1_RST_N 1>;
			};
			OV2680: sensor@4 {
				compatible = "ovt,ov2680";
				status = "okay";
				reg = <0x36>;
				adapter = <0x1>;
				sensor-pos = <1>;
				mclk = <26000000>;
				dphy3 = <0x1500>;
				dphy5 = <0xff>;
				dphy6 = <0x1001>;
				af_2v8-supply = <&ldo7>;
				avdd_2v8-supply = <&ldo3>;
				dovdd_1v8-supply = <&ldo6>;
				dvdd_1v2-supply = <&CAMERA_DVDD_SUPPLY>;
				pwdn-gpios = <&gpio CAM_MAIN_PWDN_N 1>;
				reset-gpios = <&gpio CAM1_RST_N 1>;
			};
		};
	};

	mmp_pcm_hostless: mmp_pcm_hostless {
		bus_number = <0>;
		compatible = "marvell,mmp-pcm-hostless";
		#dailink-cells = <1>;
		status = "okay";
	};

	snd_soc_dummy: snd_soc_dummy {
		compatible = "snd-soc-dummy";
		#dailink-cells = <1>;
		status = "okay";
	};

	sound {
		compatible = "marvell,map-card";
		map,dapm-route =
			"ADC input1", "TDM_MIC1_CAP",
			"ADC input2", "TDM_MIC2_CAP",
			"ADC input3", "BT_VC_UL",
			"TDM_OUT1_PLAYBACK", "DAC1 output out1",
			"TDM_OUT2_PLAYBACK", "DAC2 output out2",
			"BT_VC_DL", "ADC output ain3";
		fe_i2s1: fe_i2s1 {
			compatible = "marvell,map-dailink-1";
			dai-name = "MAP I2S1 audio";
			stream-name = "map i2s1";
			marvell,cpu-dai = <&sspa0 0>;
			marvell,codec-dai = <&mmp_map_codec 1>;
			marvell,dai-dynamic;
		};
		fe_i2s2: fe_i2s2 {
			compatible = "marvell,map-dailink-1";
			dai-name = "MAP I2S4 audio";
			stream-name = "map i2s4";
			marvell,cpu-dai = <&sspa1 1>;
			marvell,codec-dai = <&mmp_map_codec 4>;
			marvell,dai-dynamic;
		};
		fe_i2s3: fe_i2s3 {
			compatible = "marvell,map-dailink-2";
			dai-name = "MAP I2S2 audio";
			stream-name = "map i2s2";
			marvell,cpu-dai = <&mmp_pcm_hostless 0>;
			marvell,codec-dai = <&mmp_map_codec 2>;
			marvell,dai-dynamic;
			marvell,dai-no-host-mode;
		};
		fe_i2s4: fe_i2s4 {
			compatible = "marvell,map-dailink-1";
			dai-name = "MAP I2S3 audio";
			stream-name = "map i2s3";
			marvell,cpu-dai = <&mmp_pcm_hostless 0>;
			marvell,codec-dai = <&mmp_map_codec 3>;
			marvell,dai-dynamic;
			marvell,dai-no-host-mode;
		};
		be_i2s1: be_i2s1 {
			compatible = "marvell,map-dailink-3";
			dai-name = "MAP AUXI2S audio";
			stream-name = "BT audio";
			marvell,cpu-dai = <&mmp_map_be 1>;
			marvell,codec-dai = <&snd_soc_dummy 0>;
			marvell,codec-name = "snd-soc-dummy";
			marvell,codec-dai-name = "snd-soc-dummy-dai";
			marvell,dai-no-pcm;
			marvell,dai-fixup = <0>;
		};
		be_i2s2: be_i2s2 {
			compatible = "marvell,map-dailink-6";
			dai-name = "MAP TDM hs audio";
			stream-name = "codec hs audio";
			marvell,cpu-dai = <&mmp_map_be_tdm 2>;
			marvell,codec-dai = <&pm860_codec 3>;
			marvell,playback-only;
			marvell,dai-no-pcm;
			marvell,dai-fixup = <1>;
		};
		be_i2s3: be_i2s3 {
			compatible = "marvell,map-dailink-4";
			dai-name = "MAP TDM speaker audio";
			stream-name = "codec speaker audio";
			marvell,cpu-dai = <&mmp_map_be_tdm 1>;
			marvell,codec-dai = <&pm860_codec 4>;
			marvell,playback-only;
			marvell,dai-no-pcm;
			marvell,dai-fixup = <1>;
		};
		be_i2s4: be_i2s4 {
			compatible = "marvell,map-dailink-5";
			dai-name = "MAP TDM mic1 audio";
			stream-name = "codec mic1 audio";
			marvell,cpu-dai = <&mmp_map_be_tdm 3>;
			marvell,codec-dai = <&pm860_codec 1>;
			marvell,capture-only;
			marvell,dai-no-pcm;
		};
		be_i2s5: be_i2s5 {
			compatible = "marvell,map-dailink-5";
			dai-name = "MAP TDM mic2 audio";
			stream-name = "codec mic2 audio";
			marvell,cpu-dai = <&mmp_map_be_tdm 4>;
			marvell,codec-dai = <&pm860_codec 2>;
			marvell,capture-only;
			marvell,dai-no-pcm;
		};
	};

	ion {
		marvell,ion-nr = <2>;
		status = "okay";
		heap1 {
			marvell,ion-name = "carveout_heap";
			marvell,ion-type = <2>;
			marvell,ion-id = <2>;
			marvell,ion-base = <0x1200000>;
			marvell,ion-size = <0>;
		};
		heap2 {
			marvell,ion-name = "system_heap";
			marvell,ion-type = <0>;
			marvell,ion-id = <0>;
		};
	};

	gps: mmp-gps {
		compatible = "marvell,mmp-gps";
		pinctrl-names = "lpm_drv_low", "lpm_drv_high";
		pinctrl-0 = <&gps_lpm_drv_low_pins>;
		pinctrl-1 = <&gps_lpm_drv_high_pins>;
		marvell,mfp-lpm;
		vgps-supply = <&ldo18>;
		on-off-gpio = <&gpio GPS_ON_OFF 0>;
		reset-n-gpio = <&gpio GPS_RST_N 0>;
	};

	panel: r63311 {
		compatible = "marvell,mmp-r63311";
		marvell,path-name = "mmp_pnpath";
		rst_gpio = <&gpio LCD_RESET_N 0>;
		power_gpio = <&gpio P_5V_EN 0>;
		bl_gpio = <&gpio BACKLIGHT_EN 0>;
		status = "okay";
	};

	panel2: lg4591 {
		compatible = "marvell,mmp-lg4591";
		marvell,path-name = "mmp_pnpath";
		rst_gpio = <&gpio LCD_RESET_N 0>;
		status = "okay";
	};

	panel3: otm1281 {
		compatible = "marvell,mmp-otm1281";
		marvell,path-name = "mmp_pnpath";
		rst_gpio = <&gpio LCD_RESET_N 0>;
		status = "okay";
	};

	panel4: hx8394 {
		compatible = "marvell,mmp-hx8394";
		marvell,path-name = "mmp_pnpath";
		rst_gpio = <&gpio LCD_RESET_N 0>;
		iovdd-supply = <&buck2>;
		avdd-supply = <&ldo12>;
		status = "okay";
	};

	/*
	 * V_WIB_1V8(ldo8/1.8v) and V_WIB_SYS(buck5/3.3v)
	 * are set to always on temperately.
	 * V_WIB_SDIO(buck2/1.8v) shared with other components and must keep on.
	 * The regulator transferred to driver mainly for sleep mode control.
	 */
	sd8x-rfkill {
		pinctrl-names = "off", "on";
		pinctrl-0 = <&sdh1_pins_pd_rst_off>;
		pinctrl-1 = <&sdh1_pins_pd_rst_on>;
		sd-host = <&sdh1>;
		pd-gpio = <&gpio WIFI_PD_N 0>;
		rst-gpio = <&gpio WIFI_RST_N 0>;
		wib_3v3-supply = <&buck5>;
		wib_1v8-supply = <&ldo8>;
		edge-wakeup-gpio = <&gpio MMC2_DAT1_GPIO 0>;
		status = "okay";
	};

	sd8xxx-wlan {
		drv_mode = <0x5>;
		cfg80211_wext = <0xc>;
		sta_name = "wlan";
		wfd_name = "p2p";
		max_vir_bss = <1>;
		drvdbg = <0x80007>;
		init_cfg = "mrvl/wifi_init_cfg.conf";
		reg_alpha2 = "US";
		p2p_enh = <1>;
	};

	sd8xxx-bt {
		init_cfg = "mrvl/bt_init_cfg.conf";
	};

	backlight: pwm-bl {
		compatible = "pwm-backlight";
		pwms = <&pwm2 0 100000>;

		brightness-levels = <0 2 4 6 8 10 12 14 16 18 20 22 24 26 28 30 32 34 36 38 40 42 44 46 48 50 52 54 56 58 60 62 64 66 68 70 72 74 76 78 80 82 84 86 88 90 92 94 96 98 100>;
		default-brightness-level = <24>;
	};

	/*
	 * ramoops:
	 * 256 KB memory starts at 0x8100000
	 * pstore dump: 2 chunks, totall 64 KB, 32 KB each
	 * console size: 192 KB
	 * no dump_oops
	 */
	ramoops {
		compatible = "pstore,ramoops";
		mem-size = <0x40000>;
		mem-address = <0x8100000>;
		record-size = <0x8000>;
		console-size = <0x30000>;
		dump-oops = <0>;
		status = "okay";
	};

	tzdd {
		status = "okay";
	};
};
#include "88pm860.dtsi"
#include "88pm860_pxa1928_concord.dtsi"

#include "88pm830.dtsi"
#include "88pm830_battery_common.dtsi"
#include "88pm830_sp4555557sa.dtsi"
